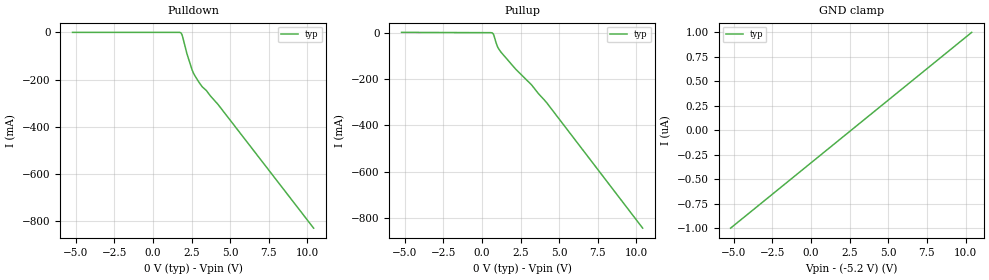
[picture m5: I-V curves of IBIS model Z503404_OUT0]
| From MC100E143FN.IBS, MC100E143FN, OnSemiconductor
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| (C) COPYRIGHT 1993-2000
| MENTOR GRAPHICS CORPORATION
| ICX STANDARD LIBRARY, ICX PROJECT MODELING,
| ICX CUSTOM MODELING, ICX VENDOR MODEL
| ALL RIGHTS RESERVED.
| THE FOLLOWING ARE TRADEMARKS OR SERVICE MARKS OF
| MENTOR GRAPHICS CORPORATION:ICX (R), ICX STANDARD
| LIBRARY(R), ICX PROJECT MODELING(R), ICX CUSTOM
| MODELING(R), qualityIBIS(TM), MODELVIEWER(TM),
| AND MODELEDITOR(TM)
| ALL COPIES OF SOFTWARE, INCLUDING BUT NOT LIMITED TO
| ANY MODIFICATIONS, ENHANCEMENTS OR DERIVATIVE WORKS,
| MUST CONTAIN ALL MENTOR GRAPHICS CORPORATION'S
| NOTICES AND LEGENDS, INCLUDING THOSE EMBEDDED IN
| SOFTWARE AND THOSE AFFIXED TO SOFTWARE MEDIUM
| AND CONTAINER, AS RECEIVED FROM MENTOR GRAPHICS
| CORPORATION.
| Model Application Version 1.89 2/18/99.
[Model] Z503404_OUT0
Model_type Output_ECL
Vref=-2.000V
Rref=50.00ohms
Cref=0.000F
Vmeas=-1.305V
C_comp 8.000pF NA NA
| variable typ   min   max
[Voltage Range] -5.200V NA NA
[POWER Clamp Reference] 0.000V NA NA
[Pullup Reference] 0.000V NA NA
[Pulldown Reference] 0.000V NA NA
[GND Clamp Reference] -5.200V NA NA
[GND Clamp]
-5.2V     -1uA       NA         NA
10.4V     1uA        NA         NA
[Pulldown]
-5.2V     77.55uA    NA         NA
1.665V    77.55uA    NA         NA
1.822V    -2.683mA   NA         NA
1.922V    -17.9mA    NA         NA
2.202V    -90.07mA   NA         NA
2.529V    -157.3mA   NA         NA
2.72V     -184.1mA   NA         NA
2.969V    -210.2mA   NA         NA
3.169V    -228.7mA   NA         NA
3.452V    -245.9mA   NA         NA
4.207V    -304.8mA   NA         NA
10.4V     -830.1mA   NA         NA
[Pullup]
-5.2V     1.117mA    NA         NA
683.6mV   -1.699mA   NA         NA
774.3mV   -11.65mA   NA         NA
918.1mV   -44.03mA   NA         NA
1.016V    -61.77mA   NA         NA
1.23V     -83.87mA   NA         NA
2.188V    -157.6mA   NA         NA
3.218V    -225.4mA   NA         NA
3.652V    -262.5mA   NA         NA
4.209V    -303.4mA   NA         NA
10.4V     -842.2mA   NA         NA
[POWER Clamp]
-5.2V     0A         NA         NA
10.4V     0A         NA         NA
[Ramp]
| variable typ min max
dV/dt_r 636.2m/357.0p NA NA
dV/dt_f 636.2m/269.6p NA NA
R_load = 500.0Ohms
